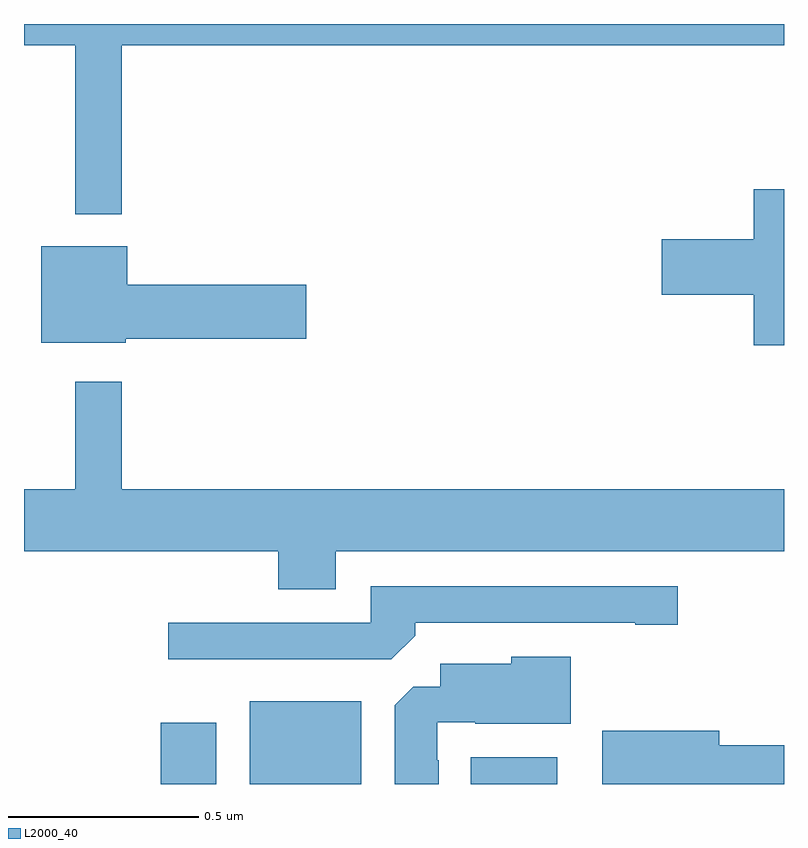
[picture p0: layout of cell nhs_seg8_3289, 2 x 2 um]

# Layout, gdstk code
import gdstk
lib = gdstk.Library(unit=1e-6, precision=1e-09)
def R(c, l, rs):  # rectangles x0, y0, x1, y1
    for r in rs: c.add(gdstk.rectangle(r[:2], r[2:], *l))
def P(c, l, *ps):  # polygons
    for p in ps: c.add(gdstk.Polygon(p, *l))
L2000_40 = (2000, 40)

nhs_seg8_3289 = lib.new_cell('nhs_seg8_3289')
R(nhs_seg8_3289, L2000_40, [(155.36,1103.9,155.506,1104.061), (155.594,1103.9,155.887,1104.118), (156.176,1103.9,156.403,1103.971)])
P(nhs_seg8_3289, L2000_40, [(155.257,1105.844),(157,1105.844),(157,1105.9),(155,1105.9),(155,1105.844),(155.135,1105.844),(155.135,1105.4),(155.257,1105.4)],
  [(157,1105.465),(156.92,1105.465),(156.92,1105.334),(156.678,1105.334),(156.678,1105.187),(156.92,1105.187),(156.92,1105.055),(157,1105.055)],
  [(155.268,1105.072),(155.743,1105.072),(155.743,1105.214),(155.272,1105.214),(155.272,1105.315),(155.045,1105.315),(155.045,1105.061),(155.268,1105.061)],
  [(155.821,1104.512),(157,1104.512),(157,1104.676),(155.257,1104.676),(155.257,1104.958),(155.135,1104.958),(155.135,1104.676),(155,1104.676),(155,1104.512),(155.669,1104.512),(155.669,1104.413),(155.821,1104.413)],
  [(156.029,1104.29),(156.029,1104.324),(156.608,1104.324),(156.608,1104.319),(156.721,1104.319),(156.721,1104.42),(155.913,1104.42),(155.913,1104.324),(155.379,1104.324),(155.379,1104.228),(155.967,1104.228)],
  [(156.091,1103.963),(156.087,1103.963),(156.087,1104.063),(156.187,1104.063),(156.187,1104.059),(156.439,1104.059),(156.439,1104.235),(156.282,1104.235),(156.282,1104.217),(156.095,1104.217),(156.095,1104.156),(156.024,1104.156),(155.975,1104.107),(155.975,1103.9),(156.091,1103.9)],
  [(157,1104.002),(156.829,1104.002),(156.829,1104.04),(156.522,1104.04),(156.522,1103.9),(157,1103.9)])

lib.write_gds('nhs_seg8_3289.gds')
